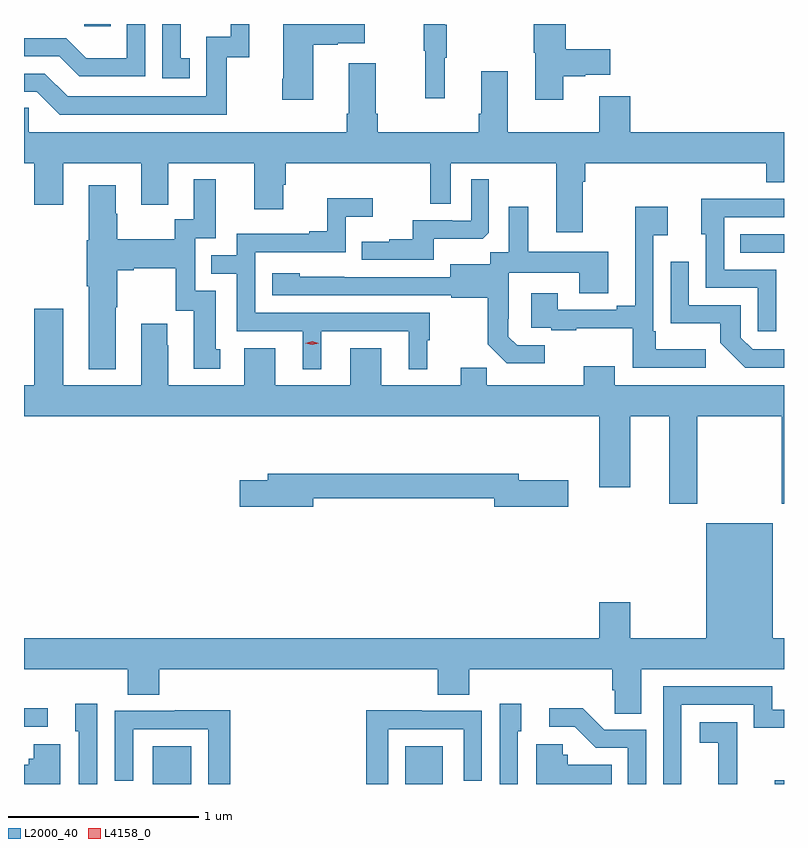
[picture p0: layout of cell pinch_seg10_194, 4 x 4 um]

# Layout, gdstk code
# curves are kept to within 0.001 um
import gdstk
lib = gdstk.Library(unit=1e-6, precision=1e-09)
def R(c, l, rs):  # rectangles x0, y0, x1, y1
    for r in rs: c.add(gdstk.rectangle(r[:2], r[2:], *l))
def P(c, l, *ps):  # polygons
    for p in ps: c.add(gdstk.Polygon(p, *l))
L2000_40 = (2000, 40)
L4158_0 = (4158, 0)

pinch_seg10_194 = lib.new_cell('pinch_seg10_194')
R(pinch_seg10_194, L2000_40, [(798.023,1250.429,798.226,1250.629), (799.352,1250.429,799.549,1250.629), (801.297,1250.429,801.345,1250.449), (797.345,1250.73,797.47,1250.828), (801.115,1253.226,801.345,1253.322), (797.661,1254.417,797.801,1254.429)])
P(pinch_seg10_194, L2000_40, [(800.182,1254.154),(800.298,1254.154),(800.298,1254.161),(800.431,1254.161),(800.431,1254.296),(800.195,1254.296),(800.195,1254.429),(800.029,1254.429),(800.029,1254.279),(800.036,1254.279),(800.036,1254.03),(800.182,1254.03)],
  [(799.559,1254.251),(799.57,1254.251),(799.57,1254.425),(799.559,1254.425),(799.559,1254.429),(799.449,1254.429),(799.449,1254.288),(799.456,1254.288),(799.456,1254.039),(799.559,1254.039)],
  [(798.218,1254.249),(798.169,1254.249),(798.169,1254.429),(798.072,1254.429),(798.072,1254.144),(798.218,1254.144)],
  [(797.982,1254.429),(797.886,1254.429),(797.886,1254.25),(797.672,1254.25),(797.568,1254.354),(797.345,1254.354),(797.345,1254.258),(797.531,1254.258),(797.636,1254.153),(797.982,1254.153)],
  [(798.412,1254.255),(798.53,1254.255),(798.53,1254.429),(798.432,1254.429),(798.432,1254.363),(798.303,1254.363),(798.303,1254.048),(797.574,1254.048),(797.454,1254.168),(797.345,1254.168),(797.345,1254.072),(797.412,1254.072),(797.532,1253.952),(798.412,1253.952)],
  [(798.868,1254.319),(798.995,1254.319),(798.995,1254.329),(799.138,1254.329),(799.138,1254.429),(798.71,1254.429),(798.71,1254.142),(798.703,1254.142),(798.703,1254.03),(798.868,1254.03)],
  [(800.287,1253.6),(800.3,1253.6),(800.3,1253.696),(801.251,1253.696),(801.251,1253.597),(801.345,1253.597),(801.345,1253.86),(800.536,1253.86),(800.536,1254.049),(800.372,1254.049),(800.372,1253.86),(799.891,1253.86),(799.891,1254.181),(799.751,1254.181),(799.751,1253.956),(799.739,1253.956),(799.739,1253.86),(799.208,1253.86),(799.208,1253.956),(799.195,1253.956),(799.195,1254.223),(799.055,1254.223),(799.055,1253.956),(799.043,1253.956),(799.043,1253.86),(797.37,1253.86),(797.37,1253.987),(797.345,1253.987),(797.345,1253.696),(797.399,1253.696),(797.399,1253.478),(797.551,1253.478),(797.551,1253.696),(797.963,1253.696),(797.963,1253.478),(798.103,1253.478),(798.103,1253.696),(798.557,1253.696),(798.557,1253.454),(798.709,1253.454),(798.709,1253.583),(798.722,1253.583),(798.722,1253.696),(799.482,1253.696),(799.482,1253.482),(799.59,1253.482),(799.59,1253.696),(800.147,1253.696),(800.147,1253.334),(800.287,1253.334)],
  [(797.827,1252.939),(797.835,1252.939),(797.835,1253.132),(797.923,1253.132),(797.923,1253.144),(798.143,1253.144),(798.143,1252.92),(798.239,1252.92),(798.239,1252.614),(798.379,1252.614),(798.379,1252.716),(798.355,1252.716),(798.355,1253.025),(798.246,1253.025),(798.246,1253.301),(798.355,1253.301),(798.355,1253.611),(798.239,1253.611),(798.239,1253.402),(798.138,1253.402),(798.138,1253.296),(797.835,1253.296),(797.835,1253.43),(797.827,1253.43),(797.827,1253.581),(797.687,1253.581),(797.687,1253.292),(797.675,1253.292),(797.675,1253.048),(797.687,1253.048),(797.687,1252.613),(797.827,1252.613)],
  [(799.501,1253.3),(799.759,1253.3),(799.791,1253.331),(799.791,1253.611),(799.698,1253.611),(799.698,1253.394),(799.598,1253.394),(799.598,1253.397),(799.391,1253.397),(799.391,1253.296),(799.267,1253.296),(799.267,1253.284),(799.123,1253.284),(799.123,1253.187),(799.501,1253.187)],
  [(798.91,1252.812),(799.37,1252.812),(799.37,1252.613),(799.468,1252.613),(799.468,1252.764),(799.48,1252.764),(799.48,1252.908),(798.561,1252.908),(798.561,1253.229),(799.038,1253.229),(799.038,1253.414),(799.18,1253.414),(799.18,1253.513),(798.94,1253.513),(798.94,1253.338),(798.845,1253.338),(798.845,1253.325),(798.465,1253.325),(798.465,1253.211),(798.331,1253.211),(798.331,1253.115),(798.465,1253.115),(798.465,1252.812),(798.812,1252.812),(798.812,1252.613),(798.91,1252.613)],
  [(801.303,1253.136),(801.03,1253.136),(801.03,1253.412),(801.345,1253.412),(801.345,1253.508),(801.127,1253.508),(801.127,1253.51),(800.909,1253.51),(800.909,1253.322),(800.934,1253.322),(800.934,1253.04),(801.207,1253.04),(801.207,1252.812),(801.303,1252.812)],
  [(800.932,1252.717),(800.671,1252.717),(800.671,1252.813),(800.658,1252.813),(800.658,1253.318),(800.734,1253.318),(800.734,1253.467),(800.561,1253.467),(800.561,1252.945),(800.465,1252.945),(800.465,1252.926),(800.155,1252.926),(800.155,1253.011),(800.015,1253.011),(800.015,1252.83),(800.119,1252.83),(800.119,1252.818),(800.251,1252.818),(800.251,1252.829),(800.55,1252.829),(800.55,1252.62),(800.932,1252.62)],
  [(800.086,1252.737),(799.941,1252.737),(799.894,1252.784),(799.894,1252.879),(799.896,1252.879),(799.896,1253.12),(800.267,1253.12),(800.267,1253.011),(800.419,1253.011),(800.419,1253.23),(799.999,1253.23),(799.999,1253.467),(799.895,1253.467),(799.895,1253.228),(799.8,1253.228),(799.8,1253.164),(799.589,1253.164),(799.589,1253.097),(798.795,1253.098),(798.795,1253.116),(798.651,1253.116),(798.651,1253.001),(799.593,1253.001),(799.593,1252.989),(799.785,1252.989),(799.785,1252.743),(799.885,1252.643),(800.086,1252.643)],
  [(801.345,1252.716),(801.18,1252.716),(801.117,1252.779),(801.117,1252.95),(800.844,1252.95),(800.844,1253.179),(800.748,1253.179),(800.748,1252.853),(801.01,1252.853),(801.01,1252.751),(801.14,1252.62),(801.345,1252.62)],
  [(800.889,1252.364),(801.334,1252.364),(801.334,1251.903),(801.345,1251.903),(801.345,1252.528),(800.455,1252.528),(800.455,1252.627),(800.291,1252.627),(800.291,1252.528),(799.781,1252.528),(799.781,1252.619),(799.643,1252.619),(799.643,1252.528),(799.225,1252.528),(799.225,1252.723),(799.061,1252.723),(799.061,1252.528),(798.667,1252.528),(798.667,1252.723),(798.503,1252.723),(798.503,1252.528),(798.103,1252.528),(798.103,1252.739),(798.1,1252.739),(798.1,1252.852),(797.963,1252.852),(797.963,1252.528),(797.551,1252.528),(797.551,1252.93),(797.399,1252.93),(797.399,1252.528),(797.345,1252.528),(797.345,1252.364),(800.372,1252.364),(800.372,1251.99),(800.536,1251.99),(800.536,1252.364),(800.741,1252.364),(800.741,1251.903),(800.889,1251.903)],
  [(798.868,1251.934),(799.82,1251.934),(799.82,1251.887),(800.209,1251.887),(800.209,1252.029),(799.948,1252.029),(799.948,1252.063),(798.629,1252.063),(798.629,1252.029),(798.48,1252.029),(798.48,1251.887),(798.868,1251.887)],
  [(800.372,1251.196),(797.345,1251.196),(797.345,1251.032),(797.891,1251.032),(797.891,1250.899),(798.056,1250.899),(798.056,1251.032),(799.523,1251.032),(799.523,1250.899),(799.688,1250.899),(799.688,1251.032),(800.441,1251.032),(800.441,1250.923),(800.454,1250.923),(800.454,1250.8),(800.593,1250.8),(800.593,1251.032),(801.345,1251.032),(801.345,1251.196),(801.286,1251.196),(801.286,1251.802),(800.936,1251.802),(800.936,1251.196),(800.536,1251.196),(800.536,1251.385),(800.372,1251.385)],
  [(800.805,1250.847),(801.186,1250.847),(801.186,1250.724),(801.345,1250.724),(801.345,1250.82),(801.283,1250.82),(801.283,1250.943),(800.709,1250.943),(800.709,1250.429),(800.805,1250.429)],
  [(797.73,1250.851),(797.615,1250.851),(797.615,1250.706),(797.634,1250.706),(797.634,1250.429),(797.73,1250.429)],
  [(799.944,1250.706),(799.963,1250.706),(799.963,1250.851),(799.848,1250.851),(799.848,1250.429),(799.944,1250.429)],
  [(800.619,1250.715),(800.4,1250.715),(800.287,1250.828),(800.109,1250.828),(800.109,1250.73),(800.243,1250.73),(800.354,1250.619),(800.523,1250.619),(800.523,1250.429),(800.619,1250.429)],
  [(799.263,1250.718),(799.659,1250.718),(799.659,1250.445),(799.755,1250.445),(799.755,1250.814),(799.439,1250.814),(799.439,1250.816),(799.147,1250.816),(799.147,1250.429),(799.263,1250.429)],
  [(798.431,1250.816),(798.139,1250.816),(798.139,1250.814),(797.823,1250.814),(797.823,1250.445),(797.919,1250.445),(797.919,1250.718),(798.315,1250.718),(798.315,1250.429),(798.431,1250.429)],
  [(801.098,1250.549),(801.099,1250.549),(801.099,1250.755),(800.901,1250.755),(800.901,1250.645),(800.999,1250.645),(800.999,1250.429),(801.098,1250.429)],
  [(797.536,1250.638),(797.397,1250.638),(797.397,1250.562),(797.371,1250.562),(797.371,1250.53),(797.345,1250.53),(797.345,1250.429),(797.536,1250.429)],
  [(800.438,1250.53),(800.208,1250.53),(800.208,1250.583),(800.181,1250.583),(800.181,1250.638),(800.042,1250.638),(800.042,1250.429),(800.438,1250.429)])
P(pinch_seg10_194, L4158_0, [(798.861,1252.74),(798.825,1252.75),(798.825,1252.75),(798.825,1252.75),(798.861,1252.76),(798.897,1252.75),(798.897,1252.75),(798.897,1252.75)])

lib.write_gds('pinch_seg10_194.gds')
